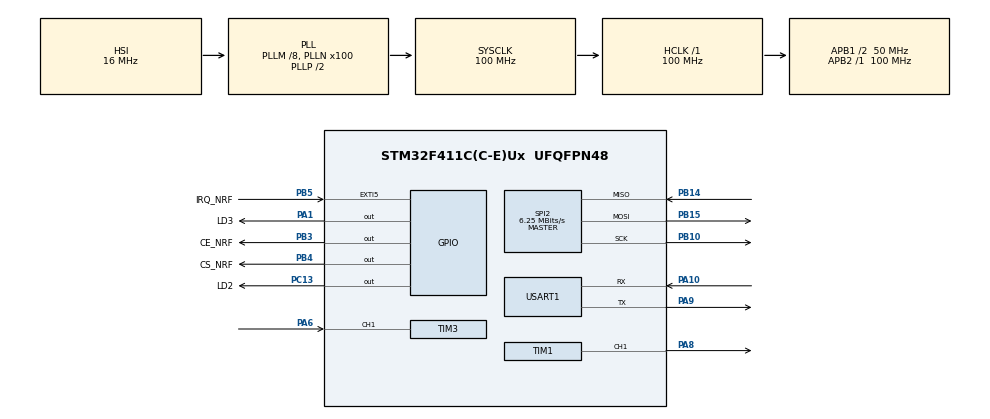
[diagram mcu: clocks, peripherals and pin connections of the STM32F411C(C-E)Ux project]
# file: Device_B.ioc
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Mcu.Family=STM32F4
Mcu.Name=STM32F411C(C-E)Ux
Mcu.Package=UFQFPN48
NVIC.EXTI9_5_IRQn=true\:0\:0\:false\:false\:true\:true\:true\:true
NVIC.PriorityGroup=NVIC_PRIORITYGROUP_4
NVIC.TIM2_IRQn=true\:0\:0\:false\:false\:true\:true\:true\:true
NVIC.TIM3_IRQn=true\:0\:0\:false\:false\:true\:true\:true\:true
PA1.GPIO_Label=LD3
PA1.Signal=GPIO_Output
PA10.Mode=Asynchronous
PA10.Signal=USART1_RX
PA13.Mode=Serial_Wire
PA13.Signal=SYS_JTMS-SWDIO
PA14.Mode=Serial_Wire
PA14.Signal=SYS_JTCK-SWCLK
PA6.Signal=S_TIM3_CH1
PA8.Signal=S_TIM1_CH1
PA9.Mode=Asynchronous
PA9.Signal=USART1_TX
PB10.Mode=Full_Duplex_Master
PB10.Signal=SPI2_SCK
PB14.Mode=Full_Duplex_Master
PB14.Signal=SPI2_MISO
PB15.Mode=Full_Duplex_Master
PB15.Signal=SPI2_MOSI
PB3.GPIO_Label=CE_NRF
PB3.Signal=GPIO_Output
PB4.GPIO_Label=CS_NRF
PB4.Signal=GPIO_Output
PB5.GPIO_Label=IRQ_NRF
PB5.GPIO_ModeDefaultEXTI=GPIO_MODE_IT_FALLING
PB5.Signal=GPXTI5
PC13-ANTI_TAMP.GPIO_Label=LD2
PC13-ANTI_TAMP.Signal=GPIO_Output
PH0\ -\ OSC_IN.Mode=HSE-External-Oscillator
PH0\ -\ OSC_IN.Signal=RCC_OSC_IN
PH1\ -\ OSC_OUT.Mode=HSE-External-Oscillator
PH1\ -\ OSC_OUT.Signal=RCC_OSC_OUT
ProjectManager.HeapSize=0x200
ProjectManager.StackSize=0x400
ProjectManager.TargetToolchain=STM32CubeIDE
RCC.48MHZClocksFreq_Value=50000000
RCC.AHBFreq_Value=100000000
RCC.APB1CLKDivider=RCC_HCLK_DIV2
RCC.APB1Freq_Value=50000000
RCC.APB1TimFreq_Value=100000000
RCC.APB2Freq_Value=100000000
RCC.APB2TimFreq_Value=100000000
RCC.CortexFreq_Value=100000000
RCC.HCLKFreq_Value=100000000
RCC.HSE_VALUE=25000000
RCC.HSI_VALUE=16000000
RCC.LSE_VALUE=32768
RCC.PLLM=8
RCC.PLLN=100
RCC.SYSCLKFreq_VALUE=100000000
RCC.SYSCLKSource=RCC_SYSCLKSOURCE_PLLCLK
RCC.VCOOutputFreq_Value=200000000
SH.S_TIM1_CH1.0=TIM1_CH1,PWM Generation1 CH1
SH.S_TIM3_CH1.0=TIM3_CH1,TriggerSource_TI1ED
SH.S_TIM3_CH1.1=TIM3_CH1,Input_Capture1_from_TI1
SPI2.BaudRatePrescaler=SPI_BAUDRATEPRESCALER_8
SPI2.CalculateBaudRate=6.25 MBits/s
SPI2.Direction=SPI_DIRECTION_2LINES
SPI2.Mode=SPI_MODE_MASTER
SPI2.VirtualType=VM_MASTER
TIM1.Channel-PWM\ Generation1\ CH1=TIM_CHANNEL_1
TIM1.Period=2631
TIM1.Pulse-PWM\ Generation1\ CH1=1315
TIM2.Prescaler=99
TIM3.Channel-Input_Capture1_from_TI1=TIM_CHANNEL_1
TIM3.ICPolarity_CH1=TIM_INPUTCHANNELPOLARITY_FALLING
TIM3.Prescaler=99
USART1.VirtualMode=VM_ASYNC
VP_CRC_VS_CRC.Mode=CRC_Activate
VP_TIM2_VS_ClockSourceINT.Mode=Internal
VP_TIM3_VS_ClockSourceINT.Mode=Internal
VP_TIM3_VS_ControllerModeReset.Mode=Reset Mode
board=custom

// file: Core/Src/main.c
/* USER CODE BEGIN Header */
/**
  ******************************************************************************
  * @file           : main.c
  * @brief          : Main program body
  ******************************************************************************
  * @attention
  *
  * Copyright (c) 2024 STMicroelectronics.
  * All rights reserved.
  *
  * This software is licensed under terms that can be found in the LICENSE file
  * in the root directory of this software component.
  * If no LICENSE file comes with this software, it is provided AS-IS.
  *
  ******************************************************************************
  */
/* USER CODE END Header */
#include "main.h"

/* USER CODE BEGIN Includes */
#include "crypto.h"
#include "stdio.h"
#include "nRF24_Defs.h"
#include "nRF24.h"
#include "spi.h"
#include "ring_buffer.h"
#include "ir_sender.h"
#include "ir_receiver.h"
#include "rsa_driver.h"
/* USER CODE END Includes */

CRC_HandleTypeDef hcrc;

SPI_HandleTypeDef hspi2;

TIM_HandleTypeDef htim1;
TIM_HandleTypeDef htim2;
TIM_HandleTypeDef htim3;

UART_HandleTypeDef huart1;

/* USER CODE BEGIN PV */
//nRF variables
volatile uint8_t nrf24_rx_flag, nrf24_tx_flag, nrf24_mr_flag;

//IR variables
uint8_t command = 0xC;
uint32_t lastCommandTime = 0;

//state variables
uint8_t transmission_step = 0;

uint8_t ir_send_counter = 0;
int8_t value = 0;

uint32_t currentTime = 0;

int32_t rv_status = 0;
int32_t sd_status = 0;

/* USER CODE END PV */

void SystemClock_Config(void);
static void MX_GPIO_Init(void);
static void MX_TIM1_Init(void);
static void MX_TIM2_Init(void);
static void MX_TIM3_Init(void);
static void MX_SPI2_Init(void);
static void MX_USART1_UART_Init(void);
static void MX_CRC_Init(void);
/* USER CODE BEGIN PFP */

void HAL_TIM_IC_CaptureCallback(TIM_HandleTypeDef *htim)
{
  if (htim == &htim3)
  {
    switch (HAL_TIM_GetActiveChannel(&htim3))
    {
      case HAL_TIM_ACTIVE_CHANNEL_1:
        ir_tim_interrupt();
        break;
      default:
        break;
    }
  }
}
/* USER CODE END PFP */

int main(void)
{

  /* MCU Configuration--------------------------------------------------------*/

  /* Reset of all peripherals, Initializes the Flash interface and the Systick. */
  HAL_Init();

  /* Configure the system clock */
  SystemClock_Config();

  /* Initialize all configured peripherals */
  MX_GPIO_Init();
  MX_TIM1_Init();
  MX_TIM2_Init();
  MX_TIM3_Init();
  MX_SPI2_Init();
  MX_USART1_UART_Init();
  MX_CRC_Init();
  /* USER CODE BEGIN 2 */

  //nRF Config
  nRF24_Init(&hspi2);

  //Random message generation- First message is the same after each reset until additional source of rng will be addded
  RSA_Driver_Get_Random_Message();

  __CRC_CLK_ENABLE();
  nRF24_SetRXAddress(0,(uint8_t *)"Nad");
  nRF24_SetTXAddress((uint8_t *)"Nad");

  //IR Config
  ir_sender_init();
  ir_receiver_init();

  /* Infinite loop */
  /* USER CODE BEGIN WHILE */
  while (1)
  {

	  switch (transmission_step) {
	    case 0: {
	      value = ir_read();
	      if (value != -1) {
	        if (value >= 10 || value <= 255) {
	          ir_disable_interrupt();
	          HAL_GPIO_TogglePin(LD2_GPIO_Port, LD2_Pin);
			    /////////////////////////////////////WIADOMOSC TESTOWA/////////////////////////////////////////
			    HAL_UART_Transmit(&huart1, "Numer pojazdu:\n", 15, 1000);
			    HAL_UART_Transmit(&huart1, value + "\n", 2, 1000);
			    /////////////////////////////////////WIADOMOSC TESTOWA/////////////////////////////////////////
	          transmission_step = 1;
	        }
	      }
	      break;
	    }

	    case 1: {
	      currentTime = HAL_GetTick();  // Pobranie aktualnego czasu w ms
	      if ((currentTime - lastCommandTime) >= 1000) {
	        NEC_SendCommand(command);       // Wysłanie komendy
	        lastCommandTime = currentTime;  // Aktualizacja czasu ostatniego wysłania
	        ir_send_counter += 1;
	      }
	      if (ir_send_counter == 6) {
	        transmission_step = 2;
	      }
	      break;
	    }

	    case 2: {
	    	Encrypt_And_Add_Random_Message(value-10);
	      nRF24_TX_Mode();
	      transmission_step = 3;
	      break;
	    }

	    case 3: {
	      sd_status = send_message(50);
	      if (sd_status == 1) {
	        transmission_step = 4;
	      }
	      break;
	    }

	    case 4: {
	      nRF24_RX_Mode();

	      transmission_step = 5;
	      break;
	    }

	    case 5: {
	      rv_status = receive_message();
	      if (rv_status == 1) {
	        transmission_step = 6;
	      }
	      break;
	    }
	    case 6: {
	      HAL_GPIO_TogglePin(LD3_GPIO_Port, LD3_Pin);
	      transmission_step = 7;
	      break;
	    }

	    case 7: {
	      transmission_step = 0;
	      //value = -1;
	      ir_enable_interrupt();
	      ir_send_counter = 0;
	      RSA_Driver_Get_Random_Message();
	      break;
	    }
	  }

    /* USER CODE END WHILE */

  }
}

void SystemClock_Config(void)
{
  RCC_OscInitTypeDef RCC_OscInitStruct = {0};
  RCC_ClkInitTypeDef RCC_ClkInitStruct = {0};

  /** Configure the main internal regulator output voltage
  */
  __HAL_RCC_PWR_CLK_ENABLE();
  __HAL_PWR_VOLTAGESCALING_CONFIG(PWR_REGULATOR_VOLTAGE_SCALE1);

  /** Initializes the RCC Oscillators according to the specified parameters
  * in the RCC_OscInitTypeDef structure.
  */
  RCC_OscInitStruct.OscillatorType = RCC_OSCILLATORTYPE_HSI;
  RCC_OscInitStruct.HSIState = RCC_HSI_ON;
  RCC_OscInitStruct.HSICalibrationValue = RCC_HSICALIBRATION_DEFAULT;
  RCC_OscInitStruct.PLL.PLLState = RCC_PLL_ON;
  RCC_OscInitStruct.PLL.PLLSource = RCC_PLLSOURCE_HSI;
  RCC_OscInitStruct.PLL.PLLM = 8;
  RCC_OscInitStruct.PLL.PLLN = 100;
  RCC_OscInitStruct.PLL.PLLP = RCC_PLLP_DIV2;
  RCC_OscInitStruct.PLL.PLLQ = 4;
  if (HAL_RCC_OscConfig(&RCC_OscInitStruct) != HAL_OK)
  {
    Error_Handler();
  }

  /** Initializes the CPU, AHB and APB buses clocks
  */
  RCC_ClkInitStruct.ClockType = RCC_CLOCKTYPE_HCLK|RCC_CLOCKTYPE_SYSCLK
                              |RCC_CLOCKTYPE_PCLK1|RCC_CLOCKTYPE_PCLK2;
  RCC_ClkInitStruct.SYSCLKSource = RCC_SYSCLKSOURCE_PLLCLK;
  RCC_ClkInitStruct.AHBCLKDivider = RCC_SYSCLK_DIV1;
  RCC_ClkInitStruct.APB1CLKDivider = RCC_HCLK_DIV2;
  RCC_ClkInitStruct.APB2CLKDivider = RCC_HCLK_DIV1;

  if (HAL_RCC_ClockConfig(&RCC_ClkInitStruct, FLASH_LATENCY_3) != HAL_OK)
  {
    Error_Handler();
  }
}

static void MX_CRC_Init(void)
{

  hcrc.Instance = CRC;
  if (HAL_CRC_Init(&hcrc) != HAL_OK)
  {
    Error_Handler();
  }

}

static void MX_SPI2_Init(void)
{

  /* SPI2 parameter configuration*/
  hspi2.Instance = SPI2;
  hspi2.Init.Mode = SPI_MODE_MASTER;
  hspi2.Init.Direction = SPI_DIRECTION_2LINES;
  hspi2.Init.DataSize = SPI_DATASIZE_8BIT;
  hspi2.Init.CLKPolarity = SPI_POLARITY_LOW;
  hspi2.Init.CLKPhase = SPI_PHASE_1EDGE;
  hspi2.Init.NSS = SPI_NSS_SOFT;
  hspi2.Init.BaudRatePrescaler = SPI_BAUDRATEPRESCALER_8;
  hspi2.Init.FirstBit = SPI_FIRSTBIT_MSB;
  hspi2.Init.TIMode = SPI_TIMODE_DISABLE;
  hspi2.Init.CRCCalculation = SPI_CRCCALCULATION_DISABLE;
  hspi2.Init.CRCPolynomial = 10;
  if (HAL_SPI_Init(&hspi2) != HAL_OK)
  {
    Error_Handler();
  }

}

static void MX_TIM1_Init(void)
{

  TIM_MasterConfigTypeDef sMasterConfig = {0};
  TIM_OC_InitTypeDef sConfigOC = {0};
  TIM_BreakDeadTimeConfigTypeDef sBreakDeadTimeConfig = {0};

  htim1.Instance = TIM1;
  htim1.Init.Prescaler = 0;
  htim1.Init.CounterMode = TIM_COUNTERMODE_UP;
  htim1.Init.Period = 2631;
  htim1.Init.ClockDivision = TIM_CLOCKDIVISION_DIV1;
  htim1.Init.RepetitionCounter = 0;
  htim1.Init.AutoReloadPreload = TIM_AUTORELOAD_PRELOAD_DISABLE;
  if (HAL_TIM_PWM_Init(&htim1) != HAL_OK)
  {
    Error_Handler();
  }
  sMasterConfig.MasterOutputTrigger = TIM_TRGO_RESET;
  sMasterConfig.MasterSlaveMode = TIM_MASTERSLAVEMODE_DISABLE;
  if (HAL_TIMEx_MasterConfigSynchronization(&htim1, &sMasterConfig) != HAL_OK)
  {
    Error_Handler();
  }
  sConfigOC.OCMode = TIM_OCMODE_PWM1;
  sConfigOC.Pulse = 1315;
  sConfigOC.OCPolarity = TIM_OCPOLARITY_HIGH;
  sConfigOC.OCNPolarity = TIM_OCNPOLARITY_HIGH;
  sConfigOC.OCFastMode = TIM_OCFAST_DISABLE;
  sConfigOC.OCIdleState = TIM_OCIDLESTATE_RESET;
  sConfigOC.OCNIdleState = TIM_OCNIDLESTATE_RESET;
  if (HAL_TIM_PWM_ConfigChannel(&htim1, &sConfigOC, TIM_CHANNEL_1) != HAL_OK)
  {
    Error_Handler();
  }
  sBreakDeadTimeConfig.OffStateRunMode = TIM_OSSR_DISABLE;
  sBreakDeadTimeConfig.OffStateIDLEMode = TIM_OSSI_DISABLE;
  sBreakDeadTimeConfig.LockLevel = TIM_LOCKLEVEL_OFF;
  sBreakDeadTimeConfig.DeadTime = 0;
  sBreakDeadTimeConfig.BreakState = TIM_BREAK_DISABLE;
  sBreakDeadTimeConfig.BreakPolarity = TIM_BREAKPOLARITY_HIGH;
  sBreakDeadTimeConfig.AutomaticOutput = TIM_AUTOMATICOUTPUT_DISABLE;
  if (HAL_TIMEx_ConfigBreakDeadTime(&htim1, &sBreakDeadTimeConfig) != HAL_OK)
  {
    Error_Handler();
  }
  HAL_TIM_MspPostInit(&htim1);

}

static void MX_TIM2_Init(void)
{

  TIM_ClockConfigTypeDef sClockSourceConfig = {0};
  TIM_MasterConfigTypeDef sMasterConfig = {0};

  htim2.Instance = TIM2;
  htim2.Init.Prescaler = 99;
  htim2.Init.CounterMode = TIM_COUNTERMODE_UP;
  htim2.Init.Period = 4294967295;
  htim2.Init.ClockDivision = TIM_CLOCKDIVISION_DIV1;
  htim2.Init.AutoReloadPreload = TIM_AUTORELOAD_PRELOAD_DISABLE;
  if (HAL_TIM_Base_Init(&htim2) != HAL_OK)
  {
    Error_Handler();
  }
  sClockSourceConfig.ClockSource = TIM_CLOCKSOURCE_INTERNAL;
  if (HAL_TIM_ConfigClockSource(&htim2, &sClockSourceConfig) != HAL_OK)
  {
    Error_Handler();
  }
  sMasterConfig.MasterOutputTrigger = TIM_TRGO_RESET;
  sMasterConfig.MasterSlaveMode = TIM_MASTERSLAVEMODE_DISABLE;
  if (HAL_TIMEx_MasterConfigSynchronization(&htim2, &sMasterConfig) != HAL_OK)
  {
    Error_Handler();
  }

}

static void MX_TIM3_Init(void)
{

  TIM_ClockConfigTypeDef sClockSourceConfig = {0};
  TIM_SlaveConfigTypeDef sSlaveConfig = {0};
  TIM_MasterConfigTypeDef sMasterConfig = {0};
  TIM_IC_InitTypeDef sConfigIC = {0};

  htim3.Instance = TIM3;
  htim3.Init.Prescaler = 99;
  htim3.Init.CounterMode = TIM_COUNTERMODE_UP;
  htim3.Init.Period = 65535;
  htim3.Init.ClockDivision = TIM_CLOCKDIVISION_DIV1;
  htim3.Init.AutoReloadPreload = TIM_AUTORELOAD_PRELOAD_DISABLE;
  if (HAL_TIM_Base_Init(&htim3) != HAL_OK)
  {
    Error_Handler();
  }
  sClockSourceConfig.ClockSource = TIM_CLOCKSOURCE_INTERNAL;
  if (HAL_TIM_ConfigClockSource(&htim3, &sClockSourceConfig) != HAL_OK)
  {
    Error_Handler();
  }
  if (HAL_TIM_IC_Init(&htim3) != HAL_OK)
  {
    Error_Handler();
  }
  sSlaveConfig.SlaveMode = TIM_SLAVEMODE_RESET;
  sSlaveConfig.InputTrigger = TIM_TS_TI1F_ED;
  sSlaveConfig.TriggerPolarity = TIM_INPUTCHANNELPOLARITY_RISING;
  sSlaveConfig.TriggerFilter = 0;
  if (HAL_TIM_SlaveConfigSynchro(&htim3, &sSlaveConfig) != HAL_OK)
  {
    Error_Handler();
  }
  sMasterConfig.MasterOutputTrigger = TIM_TRGO_RESET;
  sMasterConfig.MasterSlaveMode = TIM_MASTERSLAVEMODE_DISABLE;
  if (HAL_TIMEx_MasterConfigSynchronization(&htim3, &sMasterConfig) != HAL_OK)
  {
    Error_Handler();
  }
  sConfigIC.ICPolarity = TIM_INPUTCHANNELPOLARITY_FALLING;
  sConfigIC.ICSelection = TIM_ICSELECTION_DIRECTTI;
  sConfigIC.ICPrescaler = TIM_ICPSC_DIV1;
  sConfigIC.ICFilter = 0;
  if (HAL_TIM_IC_ConfigChannel(&htim3, &sConfigIC, TIM_CHANNEL_1) != HAL_OK)
  {
    Error_Handler();
  }

}

static void MX_USART1_UART_Init(void)
{

  huart1.Instance = USART1;
  huart1.Init.BaudRate = 115200;
  huart1.Init.WordLength = UART_WORDLENGTH_8B;
  huart1.Init.StopBits = UART_STOPBITS_1;
  huart1.Init.Parity = UART_PARITY_NONE;
  huart1.Init.Mode = UART_MODE_TX_RX;
  huart1.Init.HwFlowCtl = UART_HWCONTROL_NONE;
  huart1.Init.OverSampling = UART_OVERSAMPLING_16;
  if (HAL_UART_Init(&huart1) != HAL_OK)
  {
    Error_Handler();
  }

}

static void MX_GPIO_Init(void)
{
  GPIO_InitTypeDef GPIO_InitStruct = {0};

  /* GPIO Ports Clock Enable */
  __HAL_RCC_GPIOC_CLK_ENABLE();
  __HAL_RCC_GPIOH_CLK_ENABLE();
  __HAL_RCC_GPIOA_CLK_ENABLE();
  __HAL_RCC_GPIOB_CLK_ENABLE();

  /*Configure GPIO pin Output Level */
  HAL_GPIO_WritePin(LD2_GPIO_Port, LD2_Pin, GPIO_PIN_RESET);

  /*Configure GPIO pin Output Level */
  HAL_GPIO_WritePin(LD3_GPIO_Port, LD3_Pin, GPIO_PIN_RESET);

  /*Configure GPIO pin Output Level */
  HAL_GPIO_WritePin(GPIOB, CE_NRF_Pin|CS_NRF_Pin, GPIO_PIN_RESET);

  /*Configure GPIO pin : LD2_Pin */
  GPIO_InitStruct.Pin = LD2_Pin;
  GPIO_InitStruct.Mode = GPIO_MODE_OUTPUT_PP;
  GPIO_InitStruct.Pull = GPIO_NOPULL;
  GPIO_InitStruct.Speed = GPIO_SPEED_FREQ_LOW;
  HAL_GPIO_Init(LD2_GPIO_Port, &GPIO_InitStruct);

  /*Configure GPIO pin : LD3_Pin */
  GPIO_InitStruct.Pin = LD3_Pin;
  GPIO_InitStruct.Mode = GPIO_MODE_OUTPUT_PP;
  GPIO_InitStruct.Pull = GPIO_NOPULL;
  GPIO_InitStruct.Speed = GPIO_SPEED_FREQ_LOW;
  HAL_GPIO_Init(LD3_GPIO_Port, &GPIO_InitStruct);

  /*Configure GPIO pins : CE_NRF_Pin CS_NRF_Pin */
  GPIO_InitStruct.Pin = CE_NRF_Pin|CS_NRF_Pin;
  GPIO_InitStruct.Mode = GPIO_MODE_OUTPUT_PP;
  GPIO_InitStruct.Pull = GPIO_NOPULL;
  GPIO_InitStruct.Speed = GPIO_SPEED_FREQ_LOW;
  HAL_GPIO_Init(GPIOB, &GPIO_InitStruct);

  /*Configure GPIO pin : IRQ_NRF_Pin */
  GPIO_InitStruct.Pin = IRQ_NRF_Pin;
  GPIO_InitStruct.Mode = GPIO_MODE_IT_FALLING;
  GPIO_InitStruct.Pull = GPIO_NOPULL;
  HAL_GPIO_Init(IRQ_NRF_GPIO_Port, &GPIO_InitStruct);

  /* EXTI interrupt init*/
  HAL_NVIC_SetPriority(EXTI9_5_IRQn, 0, 0);
  HAL_NVIC_EnableIRQ(EXTI9_5_IRQn);

}

void Error_Handler(void)
{
  __disable_irq();
  while (1)
  {
  }
}
